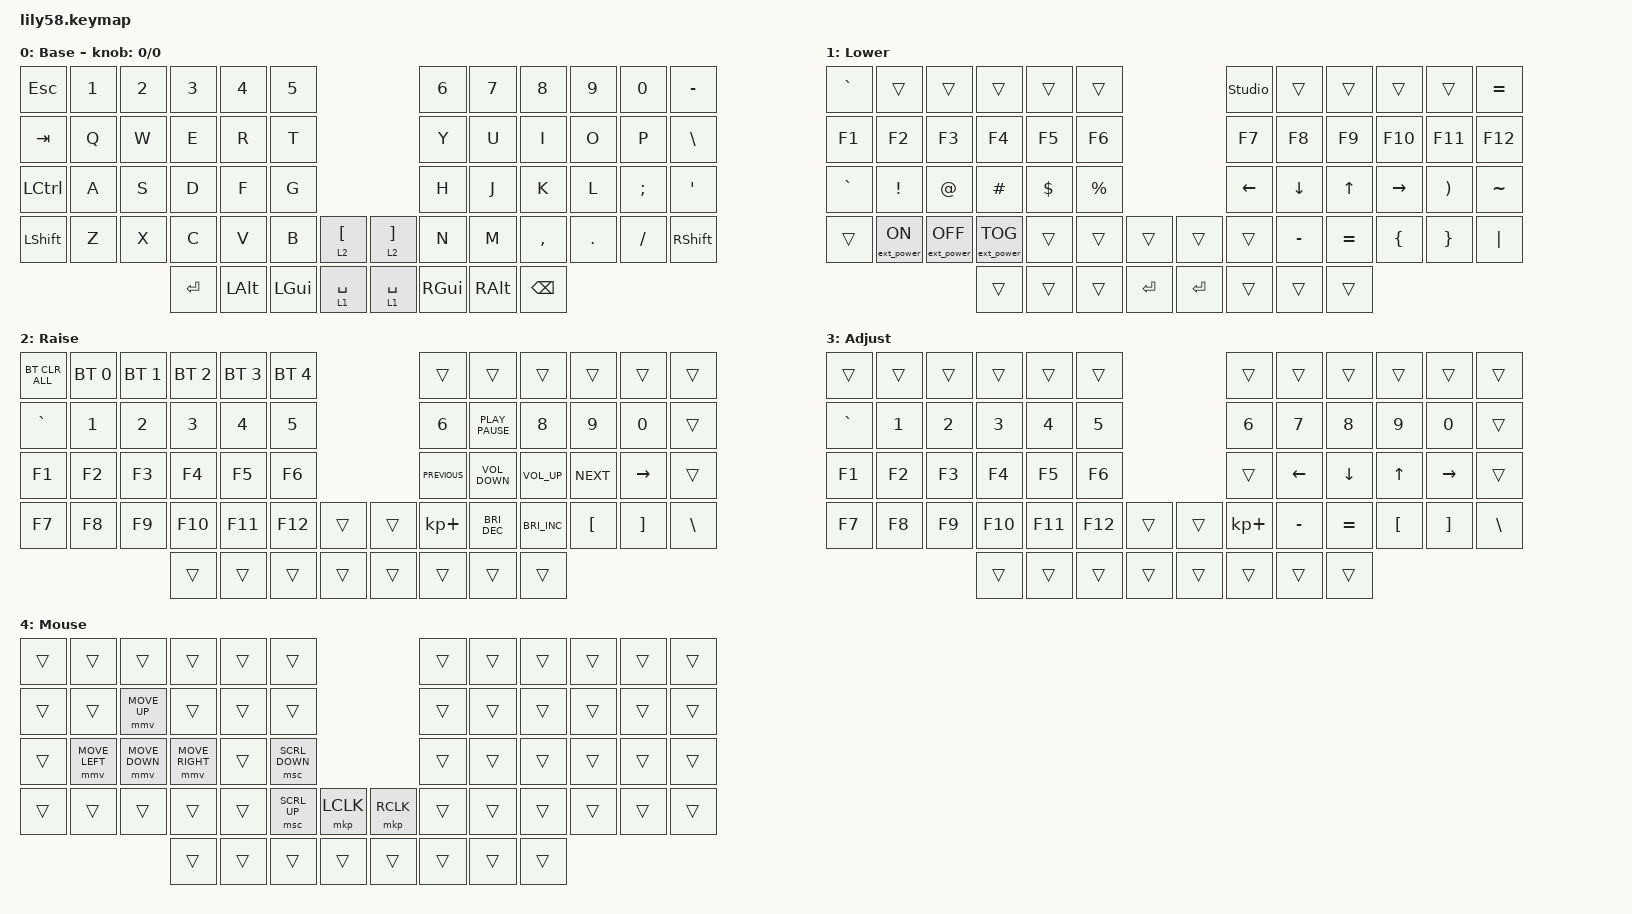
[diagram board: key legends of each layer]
/*
 * Copyright (c) 2020 The ZMK Contributors
 *
 * SPDX-License-Identifier: MIT
 */

#include <behaviors.dtsi>
#include <dt-bindings/zmk/bt.h>
#include <dt-bindings/zmk/ext_power.h>
#include <dt-bindings/zmk/keys.h>
#include <dt-bindings/zmk/pointing.h>

#define default_layer 0
#define lower_layer 1
#define raise_layer 2
#define adjust_layer 3
#define extra 4

/ {
    keymap {
        compatible = "zmk,keymap";

        default_layer {
            display-name = "Base";

            // ------------------------------------------------------------------------------------------------------------
            // |  ESC  |  1  |  2  |  3   |  4   |  5   |                   |  6   |  7    |  8    |  9   |   0   |   `   |
            // |  TAB  |  Q  |  W  |  E   |  R   |  T   |                   |  Y   |  U    |  I    |  O   |   P   |   -   |
            // |  CTRL |  A  |  S  |  D   |  F   |  G   |                   |  H   |  J    |  K    |  L   |   ;   |   '   |
            // | SHIFT |  Z  |  X  |  C   |  V   |  B   |   "["  |  |  "]"  |  N   |  M    |  ,    |  .   |   /   | SHIFT |
            //                     | ALT  | GUI  | LOWER|  SPACE |  | ENTER | RAISE| BSPC  | GUI   |

            bindings = <
&kp ESC    &kp N1  &kp N2  &kp N3   &kp N4        &kp N5                                                   &kp N6         &kp N7         &kp N8         &kp N9   &kp N0    &kp MINUS
&kp TAB    &kp Q   &kp W   &kp E    &kp R         &kp T                                                    &kp Y          &kp U          &kp I          &kp O    &kp P     &kp BACKSLASH
&kp LCTRL  &kp A   &kp S   &kp D    &kp F         &kp G                                                    &kp H          &kp J          &kp K          &kp L    &kp SEMI  &kp SQT
&kp LSHFT  &kp Z   &kp X   &kp C    &kp V         &kp B         &lt 2 LEFT_BRACKET    &lt 2 RIGHT_BRACKET  &kp N          &kp M          &kp COMMA      &kp DOT  &kp FSLH  &kp RSHFT
                           &kp RET  &kp LEFT_ALT  &kp LEFT_GUI  &lt 1 SPACE           &lt 1 SPACE          &kp RIGHT_GUI  &kp RIGHT_ALT  &kp BACKSPACE
            >;

            sensor-bindings = <&inc_dec_kp 0 0>;
        };

        lower_layer {
            display-name = "Lower";

            // ------------------------------------------------------------------------------------------------------------
            // | BTCLR | BT1 | BT2 |  BT3 |  BT4 |  BT5 |                   |      |       |       |      |       |       |
            // |  F1   |  F2 |  F3 |  F4  |  F5  |  F6  |                   |  F7  |  F8   |  F9   |  F10 |  F11  |  F12  |
            // |   `   |  !  |  @  |  #   |  $   |  %   |                   |  ^   |  &    |  *    |  (   |   )   |   ~   |
            // |       |     |     |      |      |      |        |  |       |      |  _    |  +    |  {   |   }   |  "|"  |
            //                     |      |      |      |        |  |       |      |       |       |

            bindings = <
&kp GRAVE  &trans            &trans             &trans             &trans      &trans                         &studio_unlock  &trans     &trans     &trans     &trans    &kp EQUAL
&kp F1     &kp F2            &kp F3             &kp F4             &kp F5      &kp F6                         &kp F7          &kp F8     &kp F9     &kp F10    &kp F11   &kp F12
&kp GRAVE  &kp EXCL          &kp AT             &kp HASH           &kp DOLLAR  &kp PRCNT                      &kp LEFT        &kp DOWN   &kp UP     &kp RIGHT  &kp RPAR  &kp TILDE
&trans     &ext_power EP_ON  &ext_power EP_OFF  &ext_power EP_TOG  &trans      &trans     &trans     &trans   &trans          &kp MINUS  &kp EQUAL  &kp LBRC   &kp RBRC  &kp PIPE
                                                &trans             &trans      &trans     &kp RET    &kp RET  &trans          &trans     &trans
            >;
        };

        raise_layer {
            display-name = "Raise";

            // ------------------------------------------------------------------------------------------------------------
            // |       |     |     |      |      |      |                   |      |       |       |      |       |       |
            // |   `   |  1  |  2  |  3   |  4   |  5   |                   |  6   |   7   |   8   |  9   |   0   |       |
            // |   F1  |  F2 |  F3 |  F4  |  F5  |  F6  |                   |      |   <-  |   v   |  ^   |  ->   |       |
            // |   F7  |  F8 |  F9 |  F10 |  F11 |  F12 |        |  |       |  +   |   -   |   =   |  [   |   ]   |   \   |
            //                     |      |      |      |        |  |       |      |       |       |

            bindings = <
&bt BT_CLR_ALL  &bt BT_SEL 0  &bt BT_SEL 1  &bt BT_SEL 2  &bt BT_SEL 3  &bt BT_SEL 4                    &trans          &trans                &trans                &trans      &trans     &trans
&kp GRAVE       &kp N1        &kp N2        &kp N3        &kp N4        &kp N5                          &kp N6          &kp K_PLAY_PAUSE      &kp N8                &kp N9      &kp N0     &trans
&kp F1          &kp F2        &kp F3        &kp F4        &kp F5        &kp F6                          &kp K_PREVIOUS  &kp C_VOLUME_DOWN     &kp C_VOLUME_UP       &kp K_NEXT  &kp RIGHT  &trans
&kp F7          &kp F8        &kp F9        &kp F10       &kp F11       &kp F12       &trans    &trans  &kp KP_PLUS     &kp C_BRIGHTNESS_DEC  &kp C_BRIGHTNESS_INC  &kp LBKT    &kp RBKT   &kp BSLH
                                            &trans        &trans        &trans        &trans    &trans  &trans          &trans                &trans
            >;
        };

        adjust_layer {
            display-name = "Adjust";

            // ------------------------------------------------------------------------------------------------------------
            // |       |     |     |      |      |      |                   |      |       |       |      |       |       |
            // |   `   |  1  |  2  |  3   |  4   |  5   |                   |  6   |   7   |   8   |  9   |   0   |       |
            // |   F1  |  F2 |  F3 |  F4  |  F5  |  F6  |                   |      |   <-  |   v   |  ^   |  ->   |       |
            // |   F7  |  F8 |  F9 |  F10 |  F11 |  F12 |        |  |       |  +   |   -   |   =   |  [   |   ]   |   \   |
            //                     |      |      |      |        |  |       |      |       |       |

            bindings = <
&trans     &trans  &trans  &trans   &trans   &trans                     &trans       &trans     &trans     &trans    &trans     &trans
&kp GRAVE  &kp N1  &kp N2  &kp N3   &kp N4   &kp N5                     &kp N6       &kp N7     &kp N8     &kp N9    &kp N0     &trans
&kp F1     &kp F2  &kp F3  &kp F4   &kp F5   &kp F6                     &trans       &kp LEFT   &kp DOWN   &kp UP    &kp RIGHT  &trans
&kp F7     &kp F8  &kp F9  &kp F10  &kp F11  &kp F12  &trans    &trans  &kp KP_PLUS  &kp MINUS  &kp EQUAL  &kp LBKT  &kp RBKT   &kp BSLH
                           &trans   &trans   &trans   &trans    &trans  &trans       &trans     &trans
            >;
        };

        extra {
            display-name = "Mouse";

            // ------------------------------------------------------------------------------------------------------------
            // |       |     |     |      |      |      |                   |      |       |       |      |       |       |
            // |   `   |  1  |  2  |  3   |  4   |  5   |                   |  6   |   7   |   8   |  9   |   0   |       |
            // |   F1  |  F2 |  F3 |  F4  |  F5  |  F6  |                   |      |   <-  |   v   |  ^   |  ->   |       |
            // |   F7  |  F8 |  F9 |  F10 |  F11 |  F12 |        |  |       |  +   |   -   |   =   |  [   |   ]   |   \   |
            //                     |      |      |      |        |  |       |      |       |       |

            bindings = <
&trans  &trans          &trans          &trans           &trans  &trans                                  &trans  &trans  &trans  &trans  &trans  &trans
&trans  &trans          &mmv MOVE_UP    &trans           &trans  &trans                                  &trans  &trans  &trans  &trans  &trans  &trans
&trans  &mmv MOVE_LEFT  &mmv MOVE_DOWN  &mmv MOVE_RIGHT  &trans  &msc SCRL_DOWN                          &trans  &trans  &trans  &trans  &trans  &trans
&trans  &trans          &trans          &trans           &trans  &msc SCRL_UP    &mkp LCLK    &mkp RCLK  &trans  &trans  &trans  &trans  &trans  &trans
                                        &trans           &trans  &trans          &trans       &trans     &trans  &trans  &trans
            >;
        };
    };
};
